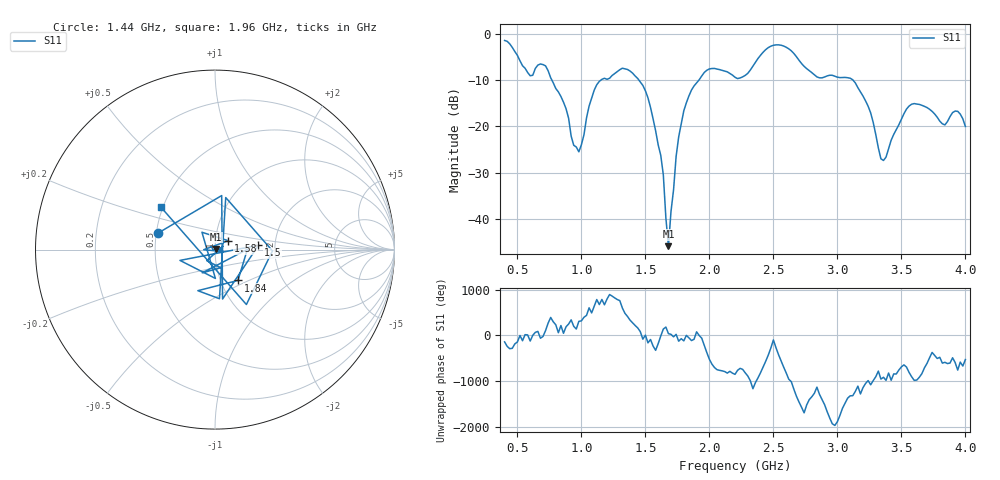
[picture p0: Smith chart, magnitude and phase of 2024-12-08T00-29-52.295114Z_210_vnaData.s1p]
!Created with skrf (http://scikit-rf.org).
# Hz S RI R 50.0
!freq ReS11 ImS11
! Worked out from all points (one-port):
!   181 points, 400 MHz to 4 GHz, reference 50 ohm
!   lowest |S11| = -46.0 dB at 1.68 GHz (marker M1), VSWR 1.01, Z = 50.4 + j0.315 ohm
!   |S11| at or under -10 dB: 770.2 MHz to 1.15 GHz (380.2 MHz wide, 39.6 % of centre); 1.45 GHz to 1.917 GHz (466.3 MHz wide, 27.7 % of centre); 3.123 GHz to end of sweep
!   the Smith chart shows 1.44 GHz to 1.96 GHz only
!   S11 on the Smith chart (normalised r, x): 1.44 GHz: 0.51, +0.10; 1.5 GHz: 1.64, +0.08; 1.58 GHz: 1.16, +0.12; 1.84 GHz: 1.21, -0.44; 1.96 GHz: 0.49, +0.27
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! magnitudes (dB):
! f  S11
! 400 MHz  -1.4
! 600 MHz  -9.0
! 720 MHz  -6.9
! 860 MHz  -14.7
! 940 MHz  -24.1
! 980 MHz  -25.5
! 1.12 GHz  -11.0
! 1.3 GHz  -7.7
! 1.44 GHz  -9.6
! 1.5 GHz  -12.3
! 1.58 GHz  -21.0
! 1.64 GHz  -30.5
! 1.68 GHz  -46.0
! 1.76 GHz  -22.3
! 1.84 GHz  -13.4
! 1.96 GHz  -8.3
! 2.2 GHz  -9.3
! 2.48 GHz  -2.6
! 2.66 GHz  -4.2
! 2.84 GHz  -9.3
! 3.1 GHz  -9.5
! 3.24 GHz  -15.6
! 3.36 GHz  -27.4
! 3.56 GHz  -15.6
! 3.7 GHz  -15.9
! 3.84 GHz  -19.7
! 3.94 GHz  -16.7
! 4 GHz  -20.0
